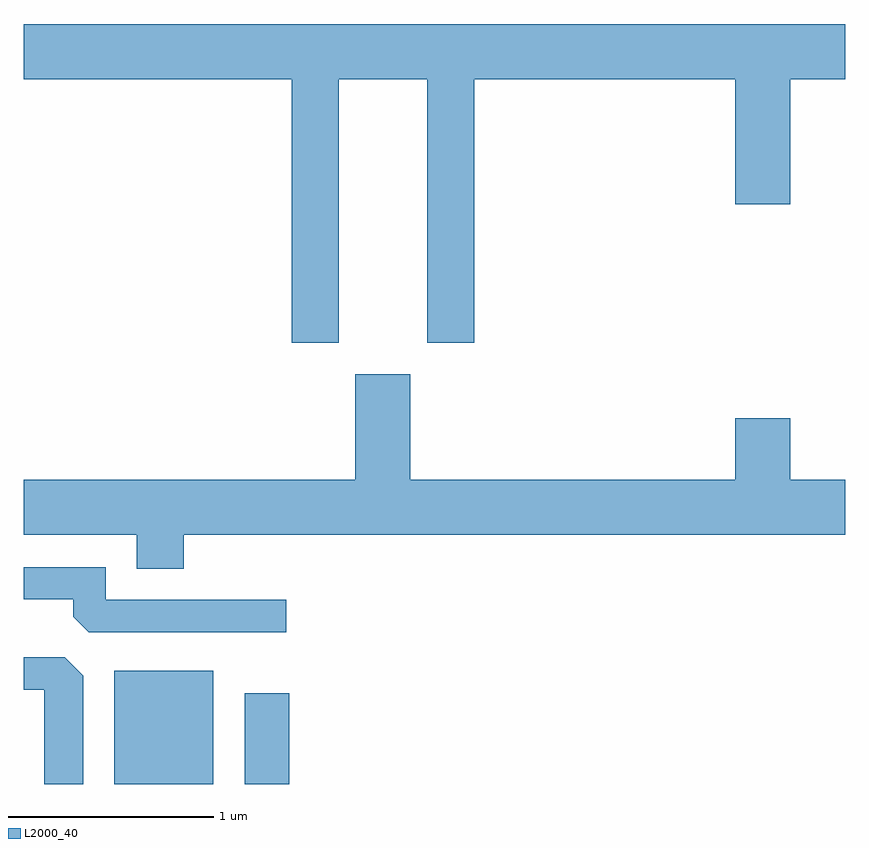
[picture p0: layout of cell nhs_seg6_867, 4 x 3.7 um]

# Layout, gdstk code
import gdstk
lib = gdstk.Library(unit=1e-6, precision=1e-09)
def R(c, l, rs):  # rectangles x0, y0, x1, y1
    for r in rs: c.add(gdstk.rectangle(r[:2], r[2:], *l))
def P(c, l, *ps):  # polygons
    for p in ps: c.add(gdstk.Polygon(p, *l))
L2000_40 = (2000, 40)

nhs_seg6_867 = lib.new_cell('nhs_seg6_867')
R(nhs_seg6_867, L2000_40, [(212.051,1542.162,212.534,1542.714), (212.686,1542.162,212.904,1542.604)])
P(nhs_seg6_867, L2000_40, [(213.144,1545.596),(213.576,1545.596),(213.576,1544.311),(213.804,1544.311),(213.804,1545.596),(215.076,1545.596),(215.076,1544.986),(215.344,1544.986),(215.344,1545.596),(215.611,1545.596),(215.611,1545.864),(211.611,1545.864),(211.611,1545.596),(212.916,1545.596),(212.916,1544.311),(213.144,1544.311)],
  [(212.389,1543.376),(215.611,1543.376),(215.611,1543.644),(215.344,1543.644),(215.344,1543.944),(215.076,1543.944),(215.076,1543.644),(213.494,1543.644),(213.494,1544.159),(213.226,1544.159),(213.226,1543.644),(211.611,1543.644),(211.611,1543.376),(212.161,1543.376),(212.161,1543.211),(212.389,1543.211)],
  [(212.888,1543.059),(212.009,1543.059),(212.009,1543.219),(211.611,1543.219),(211.611,1543.061),(211.851,1543.061),(211.851,1542.977),(211.927,1542.901),(212.888,1542.901)],
  [(211.899,1542.689),(211.809,1542.779),(211.611,1542.779),(211.611,1542.621),(211.711,1542.621),(211.711,1542.162),(211.899,1542.162)])

lib.write_gds('nhs_seg6_867.gds')
